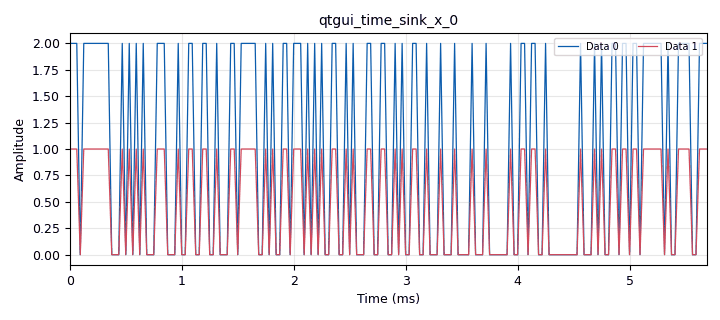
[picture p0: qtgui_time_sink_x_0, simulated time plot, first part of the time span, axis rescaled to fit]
<?xml version='1.0' encoding='utf-8'?>
<?grc format='1' created='3.7.10'?>
<flow_graph>
<block>
<key>options</key>
<param><key>id</key><value>top_block</value></param>
<param><key>author</key><value>Alexandros-Apostolos A. Boulogeorgos</value></param>
<param><key>generate_options</key><value>qt_gui</value></param>
<param><key>title</key><value>Bipolar NRZ over AWGN channel</value></param>
</block>
<block>
<key>variable</key>
<param><key>id</key><value>K</value></param>
<param><key>value</key><value>8</value></param>
</block>
<block>
<key>variable</key>
<param><key>id</key><value>constant</value></param>
<param><key>value</key><value>-1</value></param>
</block>
<block>
<key>variable</key>
<param><key>id</key><value>degree</value></param>
<param><key>value</key><value>20</value></param>
</block>
<block>
<key>variable</key>
<param><key>id</key><value>mask</value></param>
<param><key>value</key><value>0</value></param>
</block>
<block>
<key>variable</key>
<param><key>id</key><value>noiseSourceSeed</value></param>
<param><key>value</key><value>0</value></param>
</block>
<block>
<key>variable_qtgui_range</key>
<param><key>id</key><value>noise_amplitude</value></param>
<param><key>value</key><value>0.000001</value></param>
<param><key>label</key><value>Noise amplitude (Vrms)</value></param>
<param><key>orient</key><value>Qt.Horizontal</value></param>
<param><key>start</key><value>0.000001</value></param>
<param><key>step</key><value>0.000001</value></param>
<param><key>stop</key><value>100</value></param>
</block>
<block>
<key>variable</key>
<param><key>id</key><value>samp_rate</value></param>
<param><key>value</key><value>32000</value></param>
</block>
<block>
<key>variable</key>
<param><key>id</key><value>scale</value></param>
<param><key>value</key><value>0.5</value></param>
</block>
<block>
<key>variable</key>
<param><key>id</key><value>seed</value></param>
<param><key>value</key><value>1</value></param>
</block>
<block>
<key>analog_noise_source_x</key>
<param><key>id</key><value>analog_noise_source_x_0</value></param>
<param><key>amp</key><value>noise_amplitude</value></param>
<param><key>noise_type</key><value>analog.GR_GAUSSIAN</value></param>
<param><key>type</key><value>float</value></param>
<param><key>seed</key><value>noiseSourceSeed</value></param>
</block>
<block>
<key>blocks_add_const_vxx</key>
<param><key>id</key><value>blocks_add_const_vxx_0</value></param>
<param><key>const</key><value>constant</value></param>
<param><key>type</key><value>float</value></param>
</block>
<block>
<key>blocks_add_xx</key>
<param><key>id</key><value>blocks_add_xx_0</value></param>
<param><key>type</key><value>float</value></param>
</block>
<block>
<key>blocks_char_to_float</key>
<param><key>id</key><value>blocks_char_to_float_0</value></param>
<param><key>scale</key><value>scale</value></param>
</block>
<block>
<key>blocks_char_to_float</key>
<param><key>id</key><value>blocks_char_to_float_0_0</value></param>
<param><key>scale</key><value>1</value></param>
</block>
<block>
<key>blocks_pack_k_bits_bb</key>
<param><key>id</key><value>blocks_pack_k_bits_bb_0</value></param>
<param><key>k</key><value>K</value></param>
</block>
<block>
<key>blocks_pack_k_bits_bb</key>
<param><key>id</key><value>blocks_pack_k_bits_bb_0_0</value></param>
<param><key>k</key><value>K</value></param>
</block>
<block>
<key>digital_binary_slicer_fb</key>
<param><key>id</key><value>digital_binary_slicer_fb_0</value></param>
</block>
<block>
<key>digital_glfsr_source_x</key>
<param><key>id</key><value>digital_glfsr_source_x_0</value></param>
<param><key>degree</key><value>degree</value></param>
<param><key>mask</key><value>mask</value></param>
<param><key>repeat</key><value>True</value></param>
<param><key>seed</key><value>seed</value></param>
<param><key>type</key><value>byte</value></param>
</block>
<block>
<key>fec_ber_bf</key>
<param><key>id</key><value>fec_ber_bf_0</value></param>
<param><key>test_mode</key><value>False</value></param>
</block>
<block>
<key>qtgui_number_sink</key>
<param><key>id</key><value>qtgui_number_sink_0</value></param>
<param><key>graph_type</key><value>qtgui.NUM_GRAPH_HORIZ</value></param>
<param><key>type</key><value>float</value></param>
</block>
<block>
<key>qtgui_time_sink_x</key>
<param><key>id</key><value>qtgui_time_sink_x_0</value></param>
<param><key>color1</key><value>"blue"</value></param>
<param><key>label1</key><value></value></param>
<param><key>color2</key><value>"red"</value></param>
<param><key>label2</key><value></value></param>
<param><key>nconnections</key><value>2</value></param>
<param><key>size</key><value>1024</value></param>
<param><key>srate</key><value>samp_rate</value></param>
<param><key>type</key><value>float</value></param>
</block>
<connection><source_block_id>analog_noise_source_x_0</source_block_id><sink_block_id>blocks_add_xx_0</sink_block_id><source_key>0</source_key><sink_key>1</sink_key></connection>
<connection><source_block_id>blocks_add_const_vxx_0</source_block_id><sink_block_id>blocks_add_xx_0</sink_block_id><source_key>0</source_key><sink_key>0</sink_key></connection>
<connection><source_block_id>blocks_add_xx_0</source_block_id><sink_block_id>digital_binary_slicer_fb_0</sink_block_id><source_key>0</source_key><sink_key>0</sink_key></connection>
<connection><source_block_id>blocks_char_to_float_0</source_block_id><sink_block_id>blocks_add_const_vxx_0</sink_block_id><source_key>0</source_key><sink_key>0</sink_key></connection>
<connection><source_block_id>blocks_char_to_float_0</source_block_id><sink_block_id>qtgui_time_sink_x_0</sink_block_id><source_key>0</source_key><sink_key>0</sink_key></connection>
<connection><source_block_id>blocks_char_to_float_0_0</source_block_id><sink_block_id>qtgui_time_sink_x_0</sink_block_id><source_key>0</source_key><sink_key>1</sink_key></connection>
<connection><source_block_id>blocks_pack_k_bits_bb_0</source_block_id><sink_block_id>fec_ber_bf_0</sink_block_id><source_key>0</source_key><sink_key>0</sink_key></connection>
<connection><source_block_id>blocks_pack_k_bits_bb_0_0</source_block_id><sink_block_id>fec_ber_bf_0</sink_block_id><source_key>0</source_key><sink_key>1</sink_key></connection>
<connection><source_block_id>digital_binary_slicer_fb_0</source_block_id><sink_block_id>blocks_char_to_float_0_0</sink_block_id><source_key>0</source_key><sink_key>0</sink_key></connection>
<connection><source_block_id>digital_binary_slicer_fb_0</source_block_id><sink_block_id>blocks_pack_k_bits_bb_0_0</sink_block_id><source_key>0</source_key><sink_key>0</sink_key></connection>
<connection><source_block_id>digital_glfsr_source_x_0</source_block_id><sink_block_id>blocks_char_to_float_0</sink_block_id><source_key>0</source_key><sink_key>0</sink_key></connection>
<connection><source_block_id>digital_glfsr_source_x_0</source_block_id><sink_block_id>blocks_pack_k_bits_bb_0</sink_block_id><source_key>0</source_key><sink_key>0</sink_key></connection>
<connection><source_block_id>fec_ber_bf_0</source_block_id><sink_block_id>qtgui_number_sink_0</sink_block_id><source_key>0</source_key><sink_key>0</sink_key></connection>
</flow_graph>
